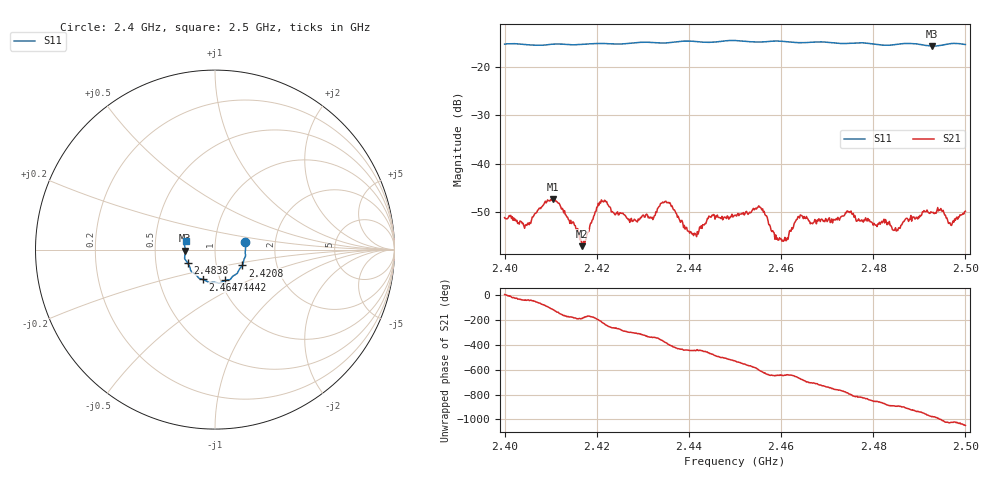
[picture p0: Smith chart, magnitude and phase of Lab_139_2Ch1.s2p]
# Hz S RI R 50
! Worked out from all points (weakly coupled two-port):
!   601 points, 2.4 GHz to 2.5 GHz, reference 50 ohm
!   highest |S21| = -47.38 dB at 2.4105 GHz (marker M1); lowest = -57.2 dB at 2.4168 GHz (marker M2)
!   lowest |S11| = -15.6 dB at 2.4928 GHz (marker M3), VSWR 1.40, Z = 35.8 - j0.411 ohm
!   |S11| at or under -10 dB: start of sweep to end of sweep
!   S12 and S22 are empty: the file has one direction only
!   S11 on the Smith chart (normalised r, x): 2.4 GHz: 1.40, +0.12; 2.4208 GHz: 1.33, -0.24; 2.4442 GHz: 1.05, -0.37; 2.4647 GHz: 0.83, -0.29; 2.4838 GHz: 0.73, -0.11; 2.5 GHz: 0.71, +0.07
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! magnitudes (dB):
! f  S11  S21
! 2.4 GHz  -15.2  -51.2
! 2.4048 GHz  -15.3  -52.8
! 2.4105 GHz  -15.2  -47.4
! 2.4167 GHz  -15.3  -56.2
! 2.4168 GHz  -15.3  -57.2
! 2.4208 GHz  -15.1  -48.2
! 2.4275 GHz  -15.0  -51.4
! 2.4333 GHz  -15.0  -49.2
! 2.4355 GHz  -14.9  -48.1
! 2.4412 GHz  -14.7  -54.5
! 2.4442 GHz  -14.9  -51.4
! 2.45 GHz  -14.5  -50.8
! 2.4555 GHz  -14.8  -49.1
! 2.4607 GHz  -14.7  -55.9
! 2.4647 GHz  -14.9  -51.0
! 2.4667 GHz  -14.8  -52.4
! 2.4747 GHz  -15.1  -50.0
! 2.4833 GHz  -15.5  -52.5
! 2.4838 GHz  -15.4  -52.9
! 2.4928 GHz  -15.6  -50.2
! 2.4968 GHz  -15.1  -52.8
! 2.5 GHz  -15.3  -49.9
